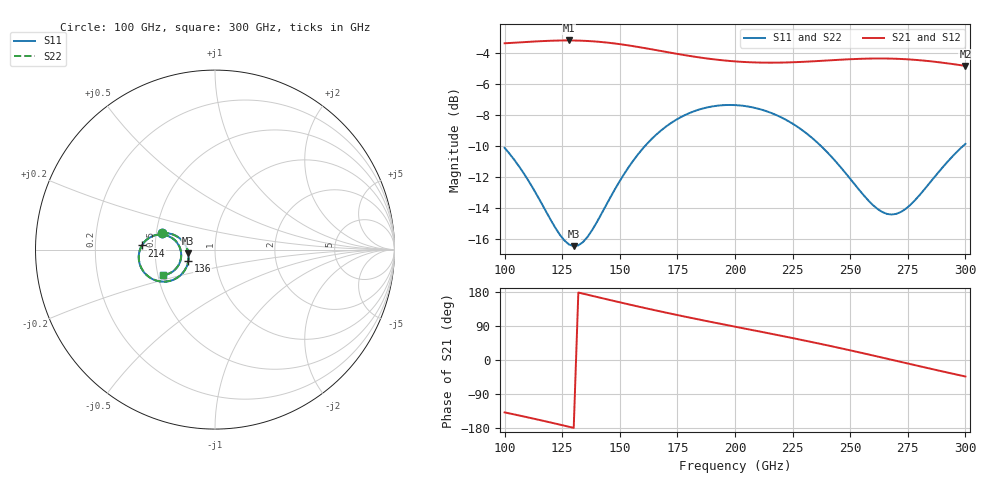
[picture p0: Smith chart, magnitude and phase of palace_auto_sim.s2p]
#  GHZ S DB R 50
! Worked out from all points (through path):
!   101 points, 100 GHz to 300 GHz, reference 50 ohm
!   highest |S21| = -3.21 dB at 128 GHz (marker M1); lowest = -4.9 dB at 300 GHz (marker M2)
!   group delay of S21, straight-line fit = 3.63 ps
!   lowest |S11| = -16.5 dB at 130 GHz (marker M3), VSWR 1.35, Z = 37 - j1.48 ohm
!   |S11| at or under -10 dB: start of sweep to 161.1 GHz; 237.2 GHz to 299.1 GHz (61.91 GHz wide, 23.1 % of centre)
!   |S22| runs from -16.5 to -7.4 dB; largest |S21 - S12| = 7.9e-14
!   S11 on the Smith chart (normalised r, x): 100 GHz: 0.53, +0.11; 136 GHz: 0.74, -0.09; 214 GHz: 0.42, +0.02; 300 GHz: 0.53, -0.17
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100  -10.14 163.0  -3.39 -138.3  -3.39 -138.3  -10.14 162.9
116  -13.70 162.3  -3.26 -159.4  -3.26 -159.4  -13.71 162.2
124  -15.74 172.9  -3.22 -170.6  -3.22 -170.6  -15.75 172.8
128  -16.37 -177.8  -3.21 -176.3  -3.21 -176.3  -16.38 -177.9
130  -16.47 -172.5  -3.22 -179.1  -3.22 -179.1  -16.48 -172.6
134  -16.21 -162.1  -3.23 175.1  -3.23 175.1  -16.22 -162.1
136  -15.88 -157.4  -3.25 172.2  -3.25 172.2  -15.88 -157.5
144  -13.85 -145.8  -3.34 160.8  -3.34 160.8  -13.85 -145.9
152  -11.79 -143.2  -3.49 149.4  -3.49 149.4  -11.80 -143.3
160  -10.18 -145.5  -3.68 138.4  -3.68 138.4  -10.18 -145.6
168  -9.00 -150.0  -3.89 127.7  -3.89 127.7  -9.01 -150.1
184  -7.69 -161.4  -4.29 107.3  -4.29 107.3  -7.69 -161.6
200  -7.38 -173.4  -4.56 88.0  -4.56 88.0  -7.38 -173.5
214  -7.79 176.8  -4.64 71.2  -4.64 71.2  -7.80 176.6
224  -8.49 170.6  -4.62 59.0  -4.62 59.0  -8.49 170.4
234  -9.56 165.8  -4.56 46.5  -4.56 46.5  -9.57 165.6
252  -12.50 166.0  -4.41 22.8  -4.41 22.8  -12.51 165.8
262  -14.09 176.2  -4.37 9.0  -4.37 9.0  -14.10 176.0
268  -14.43 -174.1  -4.38 0.6  -4.38 0.6  -14.45 -174.3
274  -14.08 -164.5  -4.42 -7.8  -4.42 -7.8  -14.09 -164.7
282  -12.85 -155.7  -4.51 -19.0  -4.51 -19.0  -12.86 -155.9
300  -9.88 -153.6  -4.85 -43.5  -4.85 -43.5  -9.89 -153.8
